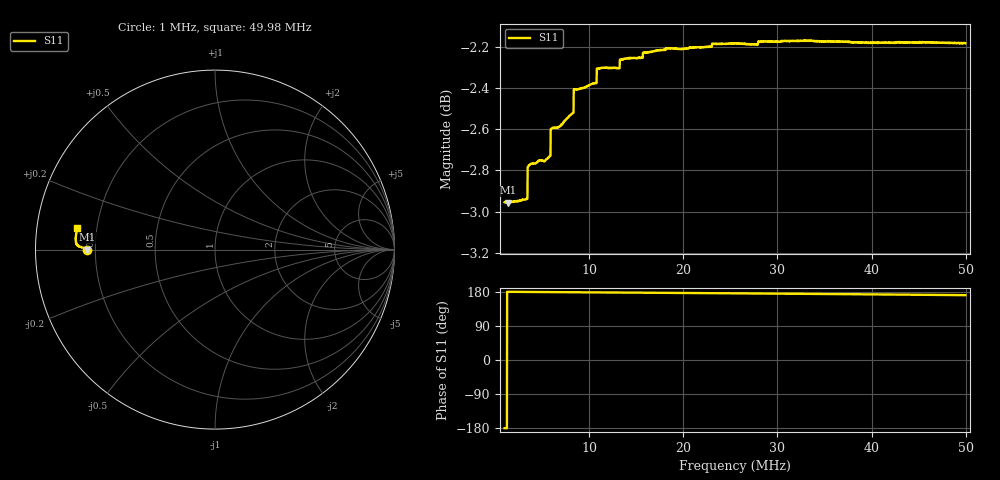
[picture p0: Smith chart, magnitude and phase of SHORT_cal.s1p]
! Created with skrf (http://scikit-rf.org).
# Hz S RI R 50.0
!freq ReS11 ImS11
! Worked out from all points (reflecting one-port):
!   2000 points, 1 MHz to 49.98 MHz, reference 50 ohm
!   lowest |S11| = -3.0 dB at 1.392 MHz (marker M1), VSWR 5.93, Z = 8.43 + j0.0122 ohm
!   phase of S11 starts at -180 deg and turns -9 deg over the sweep
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1000000  -0.7117 -0.000495
1392000  -0.7115 0.000357
3180500  -0.7128 0.00433
3695000  -0.7269 0.00546
5630500  -0.7295 0.00961
6145000  -0.7418 0.011
6733000  -0.7421 0.0122
7125000  -0.7434 0.0131
8080500  -0.7474 0.0153
8595000  -0.758 0.0165
1.05305e7  -0.7604 0.0208
1.1045e7  -0.7667 0.0222
1.29805e7  -0.7667 0.0264
1.325e7  -0.7703 0.0272
1.3495e7  -0.7704 0.0278
1.54305e7  -0.7709 0.0321
1.5945e7  -0.7732 0.0334
1.8395e7  -0.7748 0.0389
1.9375e7  -0.7745 0.041
2.27805e7  -0.7749 0.049
2.3295e7  -0.776 0.0502
2.55e7  -0.7759 0.0554
2.76805e7  -0.7752 0.0605
2.8195e7  -0.7763 0.062
3.1625e7  -0.7758 0.0706
3.775e7  -0.7736 0.0866
4.3875e7  -0.7713 0.1035
4.99755e7  -0.7685 0.1207
